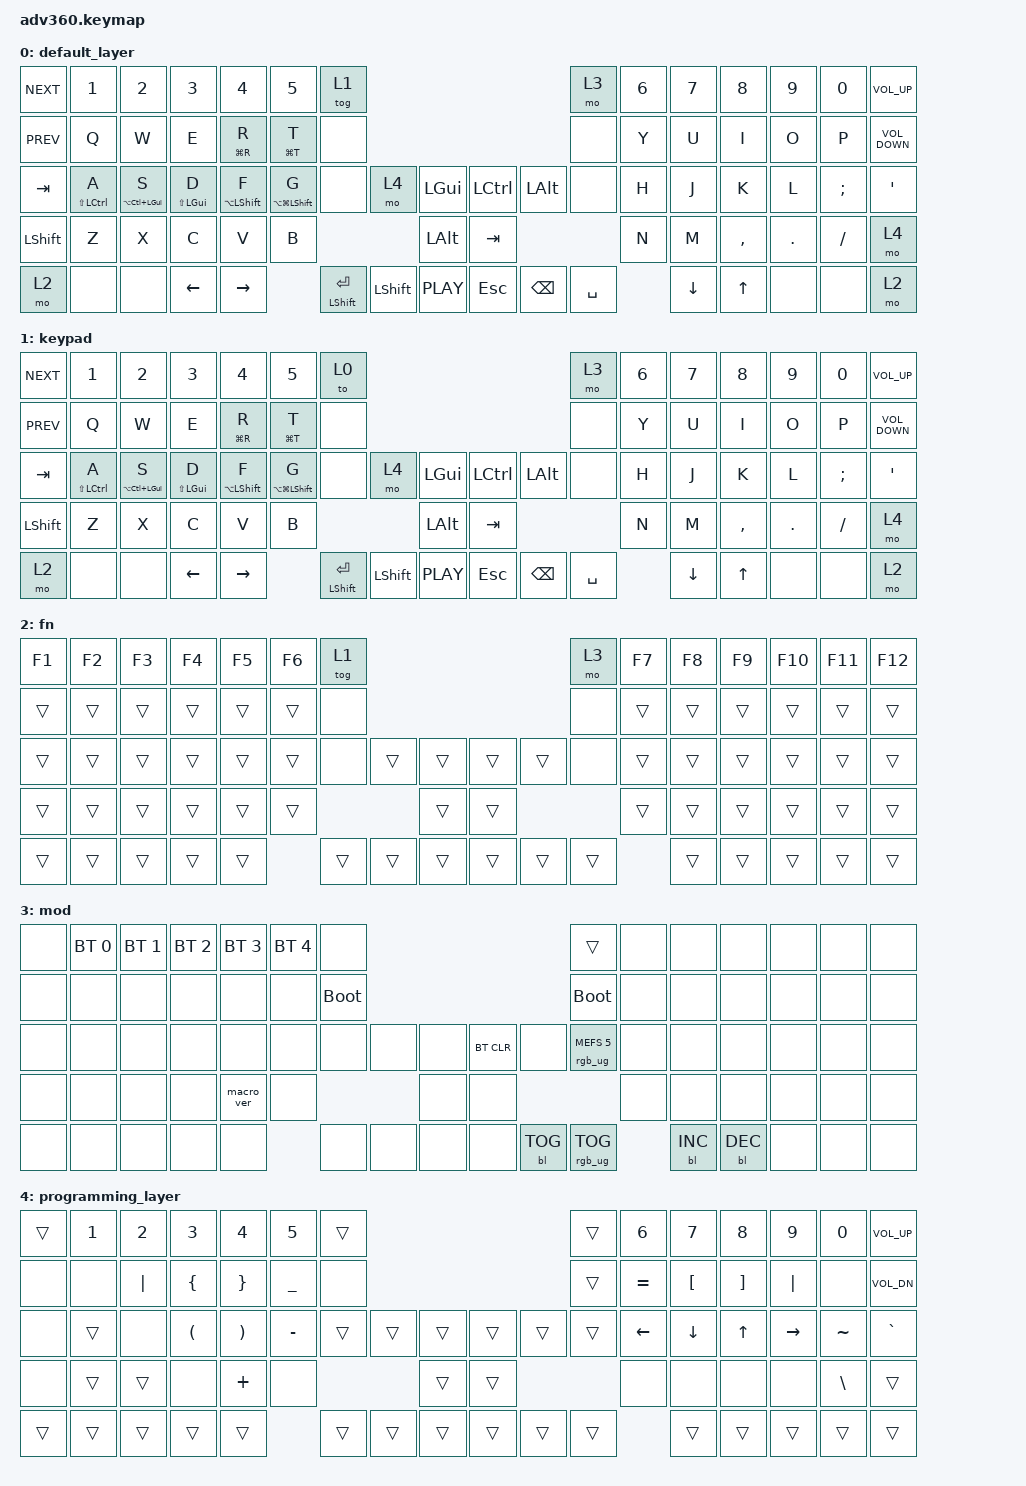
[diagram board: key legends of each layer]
#include <behaviors.dtsi>
#include <dt-bindings/zmk/backlight.h>
#include <dt-bindings/zmk/bt.h>
#include <dt-bindings/zmk/keys.h>
#include <dt-bindings/zmk/rgb.h>

/ {
    behaviors {
        #include "macros.dtsi"
      #include "version.dtsi"
      #ifndef VERSION_MACRO

        macro_ver: macro_ver {
            compatible = "zmk,behavior-macro";
            label = "macro_version";
            #binding-cells = <0>;
            bindings = <&kp RET>;
        };

        #endif

        hm: homerow_mods {
            compatible = "zmk,behavior-hold-tap";
            label = "HOMEROW_MODS";
            #binding-cells = <2>;
            tapping-term-ms = <200>;
            flavor = "tap-preferred";
            bindings = <&kp>, <&kp>;
        };
    };

    macros {
    };

    keymap {
        compatible = "zmk,keymap";

        default_layer {
            bindings = <
&kp C_NEXT  &kp NUMBER_1            &kp NUMBER_2        &kp NUMBER_3    &kp NUMBER_4          &kp N5                    &tog 1                                                                           &mo 3      &kp NUMBER_6  &kp N7    &kp N8        &kp N9   &kp N0         &kp C_VOLUME_UP
&kp C_PREV  &kp Q                   &kp W               &kp E           &hm LG(R) R           &hm LG(T) T               &none                                                                            &none      &kp Y         &kp U     &kp I         &kp O    &kp P          &kp C_VOLUME_DOWN
&kp TAB     &hm LS(LEFT_CONTROL) A  &hm LA(LC(LGUI)) S  &hm LS(LGUI) D  &hm LA(LEFT_SHIFT) F  &hm LA(LG(LEFT_SHIFT)) G  &none                 &mo 4           &kp LGUI        &kp LCTRL   &kp LEFT_ALT   &none      &kp H         &kp J     &kp K         &kp L    &kp SEMICOLON  &kp SQT
&kp LSHFT   &kp Z                   &kp X               &kp C           &kp V                 &kp B                                                           &kp LALT        &kp TAB                               &kp N         &kp M     &kp COMMA     &kp DOT  &kp FSLH       &mo 4
&mo 2       &none                   &none               &kp LEFT_ARROW  &kp RIGHT_ARROW                                 &hm LEFT_SHIFT ENTER  &kp LEFT_SHIFT  &kp C_PLAY      &kp ESCAPE  &kp BACKSPACE  &kp SPACE                &kp DOWN  &kp UP_ARROW  &none    &none          &mo 2
            >;
        };

        keypad {
            bindings = <
&kp C_NEXT  &kp N1           &kp N2              &kp N3          &kp N4                &kp N5                    &to 0                                                                           &mo 3      &kp N6  &kp NUMBER_7  &kp NUMBER_8  &kp NUMBER_9  &kp NUMBER_0   &kp C_VOLUME_UP
&kp C_PREV  &kp Q            &kp W               &kp E           &hm LG(R) R           &hm LG(T) T               &none                                                                           &none      &kp Y   &kp U         &kp I         &kp O         &kp P          &kp C_VOLUME_DOWN
&kp TAB     &hm LS(LCTRL) A  &hm LA(LC(LGUI)) S  &hm LS(LGUI) D  &hm LA(LEFT_SHIFT) F  &hm LA(LG(LEFT_SHIFT)) G  &none                 &mo 4           &kp LGUI        &kp LCTRL  &kp LALT       &none      &kp H   &kp J         &kp K         &kp L         &kp SEMICOLON  &kp SQT
&kp LSHFT   &kp Z            &kp X               &kp C           &kp V                 &kp B                                                           &kp LALT        &kp TAB                              &kp N   &kp M         &kp COMMA     &kp PERIOD    &kp SLASH      &mo 4
&mo 2       &none            &none               &kp LEFT        &kp RIGHT                                       &hm LEFT_SHIFT ENTER  &kp LEFT_SHIFT  &kp C_PLAY      &kp ESC    &kp BACKSPACE  &kp SPACE          &kp DOWN      &kp UP_ARROW  &none         &none          &mo 2
            >;
        };

        fn {
            bindings = <
&kp F1  &kp F2  &kp F3  &kp F4  &kp F5  &kp F6  &tog 1                                      &mo 3   &kp F7  &kp F8  &kp F9  &kp F10  &kp F11  &kp F12
&trans  &trans  &trans  &trans  &trans  &trans  &none                                       &none   &trans  &trans  &trans  &trans   &trans   &trans
&trans  &trans  &trans  &trans  &trans  &trans  &none   &trans  &trans      &trans  &trans  &none   &trans  &trans  &trans  &trans   &trans   &trans
&trans  &trans  &trans  &trans  &trans  &trans                  &trans      &trans                  &trans  &trans  &trans  &trans   &trans   &trans
&trans  &trans  &trans  &trans  &trans          &trans  &trans  &trans      &trans  &trans  &trans          &trans  &trans  &trans   &trans   &trans
            >;
        };

        mod {
            bindings = <
&none  &bt BT_SEL 0  &bt BT_SEL 1  &bt BT_SEL 2  &bt BT_SEL 3  &bt BT_SEL 4  &none                                                  &trans                  &none  &none       &none       &none  &none  &none
&none  &none         &none         &none         &none         &none         &bootloader                                            &bootloader             &none  &none       &none       &none  &none  &none
&none  &none         &none         &none         &none         &none         &none        &none  &none      &bt BT_CLR  &none       &rgb_ug RGB_MEFS_CMD 5  &none  &none       &none       &none  &none  &none
&none  &none         &none         &none         &macro_ver    &none                             &none      &none                                           &none  &none       &none       &none  &none  &none
&none  &none         &none         &none         &none                       &none        &none  &none      &none       &bl BL_TOG  &rgb_ug RGB_TOG                &bl BL_INC  &bl BL_DEC  &none  &none  &none
            >;
        };

        programming_layer {
            bindings = <
&trans  &kp NUMBER_1  &kp NUMBER_2  &kp NUMBER_3          &kp NUMBER_4           &kp NUMBER_5  &trans                                      &trans  &kp NUMBER_6    &kp NUMBER_7      &kp NUMBER_8       &kp NUMBER_9  &kp NUMBER_0   &kp C_VOLUME_UP
&none   &none         &kp PIPE      &kp LEFT_BRACE        &kp RIGHT_BRACE        &kp UNDER     &none                                       &trans  &kp EQUAL       &kp LEFT_BRACKET  &kp RIGHT_BRACKET  &kp PIPE      &none          &kp C_VOL_DN
&none   &trans        &none         &kp LEFT_PARENTHESIS  &kp RIGHT_PARENTHESIS  &kp MINUS     &trans  &trans  &trans      &trans  &trans  &trans  &kp LEFT_ARROW  &kp DOWN_ARROW    &kp UP_ARROW       &kp RIGHT     &kp TILDE      &kp GRAVE
&none   &trans        &trans        &none                 &kp PLUS               &none                         &trans      &trans                  &none           &none             &none              &none         &kp BACKSLASH  &trans
&trans  &trans        &trans        &trans                &trans                               &trans  &trans  &trans      &trans  &trans  &trans                  &trans            &trans             &trans        &trans         &trans
            >;
        };
    };
};
